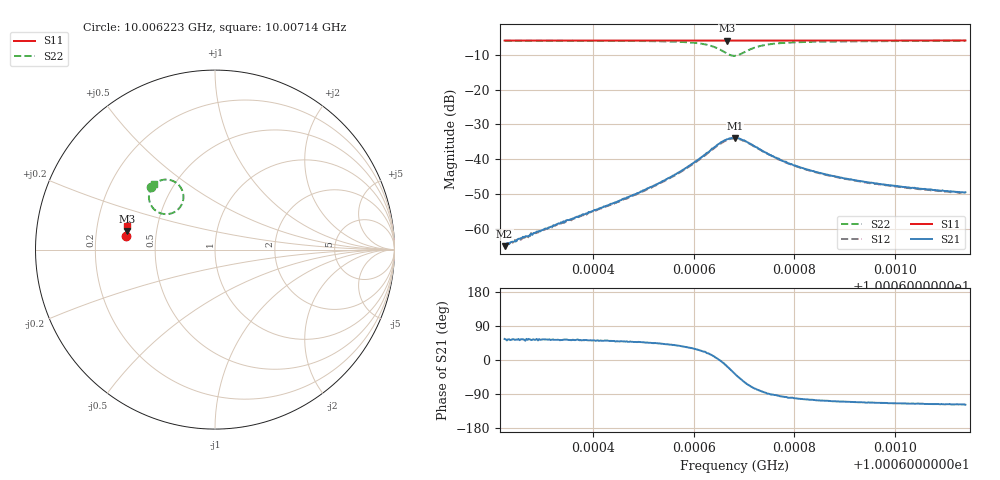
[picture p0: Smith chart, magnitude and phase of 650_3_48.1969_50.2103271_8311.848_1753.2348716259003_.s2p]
#  HZ  S  RI  R  50.00
! Rohde & Schwarz Vector Network Analyzer
! Rohde-Schwarz,ZNB20-2Port,1311601062101988,3.16
! Created: UTC 3/20/2024, 12:05:11 PM
! freq[Hz]  re:S11  im:S11  re:S21  im:S21  re:S12  im:S12  re:S22  im:S22
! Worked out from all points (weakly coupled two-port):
!   401 points, 10.006223 GHz to 10.00714 GHz, reference 50 ohm
!   highest |S21| = -33.85 dB at 10.006682 GHz (marker M1); lowest = -64.9 dB at 10.006223 GHz (marker M2)
!   lowest |S11| = -6.0 dB at 10.006666 GHz (marker M3), VSWR 3.02, Z = 16.7 + j4.6 ohm
!   |S11| at or under -10 dB: nowhere
!   |S22| runs from -10.3 to -6.0 dB; largest |S21 - S12| = 0.0016
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1.00062234e10  -0.4981 0.0746  0.000321 0.000469  0.000307 0.000489  -0.3553 0.3509
1.00062372e10  -0.4978 0.0755  0.000389 0.000522  0.000307 0.000519  -0.3545 0.352
1.00062486e10  -0.498 0.0764  0.000419 0.000571  0.000385 0.000572  -0.3535 0.353
1.00062693e10  -0.4978 0.0776  0.000472 0.000633  0.000418 0.000606  -0.3517 0.3546
1.00062807e10  -0.4977 0.0784  0.000507 0.000713  0.00047 0.000703  -0.3508 0.3555
1.0006377e10  -0.4967 0.0846  0.000987 0.00125  0.000897 0.00127  -0.3412 0.3643
1.00064687e10  -0.4958 0.0907  0.00193 0.00213  0.00173 0.00219  -0.3262 0.375
1.00065305e10  -0.495 0.0948  0.0033 0.00314  0.00304 0.00322  -0.308 0.384
1.00065764e10  -0.4944 0.0979  0.00559 0.00408  0.00522 0.00427  -0.2823 0.39
1.00066176e10  -0.4934 0.1006  0.0102 0.00427  0.00966 0.00469  -0.2369 0.3836
1.00066428e10  -0.4927 0.1022  0.0151 0.00178  0.0147 0.00267  -0.1948 0.3513
1.00066658e10  -0.4917 0.1029  0.0185 -0.00558  0.0184 -0.00414  -0.1773 0.2766
1.00066818e10  -0.4917 0.1033  0.0163 -0.0121  0.0166 -0.0108  -0.2114 0.2189
1.00067024e10  -0.492 0.1042  0.00908 -0.0159  0.00996 -0.0151  -0.2868 0.1985
1.00067185e10  -0.4924 0.105  0.00446 -0.015  0.00529 -0.0146  -0.3289 0.216
1.00067345e10  -0.4925 0.1061  0.0017 -0.0134  0.00239 -0.0131  -0.3514 0.2393
1.00067758e10  -0.4925 0.1091  -0.0011 -0.0095  -0.000577 -0.00946  -0.3678 0.2844
1.00068353e10  -0.4918 0.1131  -0.00176 -0.00657  -0.00145 -0.00655  -0.3655 0.317
1.00068972e10  -0.4911 0.1174  -0.00182 -0.00505  -0.00153 -0.00506  -0.3594 0.3345
1.00069889e10  -0.4898 0.1231  -0.00173 -0.00391  -0.00148 -0.00391  -0.3514 0.3497
1.00070874e10  -0.4885 0.1294  -0.00158 -0.00318  -0.0014 -0.00321  -0.3439 0.3602
1.00071402e10  -0.4877 0.1326  -0.00158 -0.00298  -0.00138 -0.00297  -0.3404 0.3646
